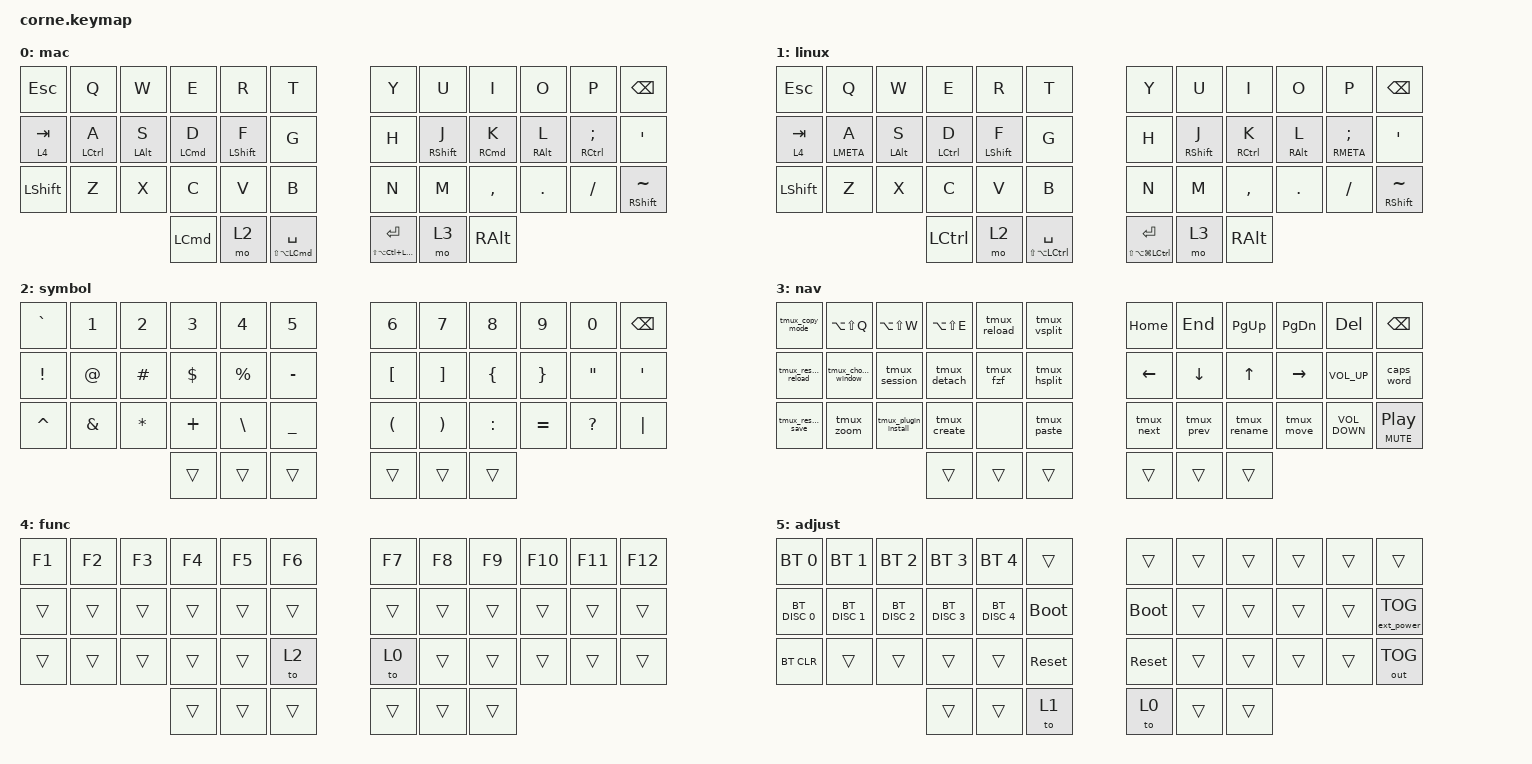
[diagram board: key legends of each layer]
#include <behaviors.dtsi>
#include <dt-bindings/zmk/bt.h>
#include <dt-bindings/zmk/ext_power.h>
#include <dt-bindings/zmk/keys.h>
#include <dt-bindings/zmk/outputs.h>

&mt { flavor = "tap-preferred"; };

&caps_word { continue-list = <UNDERSCORE BACKSPACE DELETE SPACE>; };

/ {
    behaviors {
        lhrm: lhrm {
            compatible = "zmk,behavior-hold-tap";
            label = "Left-hand HRMs";
            bindings = <&kp>, <&kp>;

            #binding-cells = <2>;
            tapping-term-ms = <250>;
            quick-tap-ms = <175>;
            require-prior-idle-ms = <150>;
            flavor = "balanced";
            hold-trigger-key-positions = <39 40 41>;
            hold-trigger-on-release;
        };

        rhrm: rhrm {
            compatible = "zmk,behavior-hold-tap";
            label = "Right-hand HRMs";
            bindings = <&kp>, <&kp>;

            #binding-cells = <2>;
            tapping-term-ms = <250>;
            quick-tap-ms = <175>;
            require-prior-idle-ms = <150>;
            flavor = "balanced";
            hold-trigger-on-release;
            hold-trigger-key-positions = <36 37 38>;
        };

        thumbmt: thumb_mt {
            compatible = "zmk,behavior-hold-tap";
            label = "Thumb hold-tap";
            bindings = <&kp>, <&kp>;

            #binding-cells = <2>;
            tapping-term-ms = <200>;
            require-prior-idle-ms = <150>;
            flavor = "tap-preferred";
        };
    };

    macros {
        home_prefix: home_prefix {
            compatible = "zmk,behavior-macro";
            #binding-cells = <0>;
            bindings = <&kp TILDE &kp FSLH>;
            label = "$HOME";
        };

        arrow: arrow {
            compatible = "zmk,behavior-macro";
            #binding-cells = <0>;
            bindings = <&kp MINUS &kp GT>;
            label = "ARROW";
        };

        walrus: walrus {
            compatible = "zmk,behavior-macro";
            #binding-cells = <0>;
            bindings = <&kp COLON &kp EQUAL>;
            label = "WALRUS";
        };

        gte: gte {
            compatible = "zmk,behavior-macro";
            #binding-cells = <0>;
            bindings = <&kp GT &kp EQUAL>;
            label = "GTE";
        };

        lte: lte {
            compatible = "zmk,behavior-macro";
            #binding-cells = <0>;
            bindings = <&kp LT &kp EQUAL>;
            label = "LTE";
        };

        fat_arrow: fat_arrow {
            compatible = "zmk,behavior-macro";
            #binding-cells = <0>;
            bindings = <&kp EQUAL &kp GT>;
            label = "FAT_ARROW";
        };

        not_equal: not_equal {
            compatible = "zmk,behavior-macro";
            #binding-cells = <0>;
            bindings = <&kp EXCL &kp EQUAL>;
            label = "NOT_EQUAL";
        };

        tmux_create: tmux_create {
            compatible = "zmk,behavior-macro";
            #binding-cells = <0>;
            bindings = <&kp LC(S) &kp C>;
            label = "TMUX_CREATE";
        };

        tmux_detach: tmux_detach {
            compatible = "zmk,behavior-macro";
            #binding-cells = <0>;
            bindings = <&kp LC(S) &kp D>;
            label = "TMUX_DETACH";
        };

        tmux_rename: tmux_rename {
            compatible = "zmk,behavior-macro";
            #binding-cells = <0>;
            bindings = <&kp LC(S) &kp COMMA>;
            label = "TMUX_RENAME";
        };

        tmux_move: tmux_move {
            compatible = "zmk,behavior-macro";
            #binding-cells = <0>;
            bindings = <&kp LC(S) &kp DOT>;
            label = "TMUX_MOVE";
        };

        tmux_next: tmux_next_win {
            compatible = "zmk,behavior-macro";
            #binding-cells = <0>;
            bindings = <&kp LC(S) &kp N>;
            label = "TMUX_NEXT_WIN";
        };

        tmux_prev: tmux_prev {
            compatible = "zmk,behavior-macro";
            #binding-cells = <0>;
            bindings = <&kp LC(S) &kp P>;
            label = "TMUX_PREV";
        };

        tmux_session: tmux_session {
            compatible = "zmk,behavior-macro";
            #binding-cells = <0>;
            bindings = <&kp LC(S) &kp S>;
            label = "TMUX_SESSION";
        };

        tmux_zoom: tmux_zoom {
            compatible = "zmk,behavior-macro";
            #binding-cells = <0>;
            bindings = <&kp LC(S) &kp Z>;
            label = "TMUX_ZOOM";
        };

        tmux_reload: tmux_reload {
            compatible = "zmk,behavior-macro";
            #binding-cells = <0>;
            bindings = <&kp LC(S) &kp R>;
            label = "TMUX_RELOAD";
        };

        tmux_paste: tmux_paste {
            compatible = "zmk,behavior-macro";
            #binding-cells = <0>;
            bindings = <&kp LC(S) &kp RIGHT_BRACKET>;
            label = "TMUX_PASTE";
        };

        tmux_copy_mode: tmux_copy_mode {
            compatible = "zmk,behavior-macro";
            #binding-cells = <0>;
            bindings = <&kp LC(S) &kp ESC>;
            label = "TMUX_COPY_MODE";
        };

        tmux_plugin_install: tmux_plugin_install {
            compatible = "zmk,behavior-macro";
            #binding-cells = <0>;
            bindings = <&kp LC(S) &kp LS(I)>;
            label = "TMUX_PLUGIN_INSTALL";
        };

        tmux_resurrect_save: tmux_resurrect_save {
            compatible = "zmk,behavior-macro";
            #binding-cells = <0>;
            bindings = <&kp LC(S) &kp LS(S)>;
            label = "TMUX_RESURRECT_SAVE";
        };

        tmux_resurrect_reload: tmux_resurrect_reload {
            compatible = "zmk,behavior-macro";
            #binding-cells = <0>;
            bindings = <&kp LC(S) &kp LS(R)>;
            label = "TMUX_RESURRECT_RELOAD";
        };

        tmux_choose_window: tmux_choose_window {
            compatible = "zmk,behavior-macro";
            #binding-cells = <0>;
            bindings = <&kp LC(S) &kp W>;
            label = "TMUX_CHOOSE_WINDOW";
        };

        tmux_fzf: tmux_fzf {
            compatible = "zmk,behavior-macro";
            #binding-cells = <0>;
            bindings = <&kp LC(S) &kp LS(F)>;
            label = "TMUX_FZF";
        };

        tmux_vsplit: tmux_vsplit {
            compatible = "zmk,behavior-macro";
            #binding-cells = <0>;
            bindings = <&kp LC(S) &kp PERCENT>;
            label = "TMUX_VSPLIT";
        };

        tmux_hsplit: tmux_hsplit {
            compatible = "zmk,behavior-macro";
            #binding-cells = <0>;
            bindings = <&kp LC(S) &kp DOUBLE_QUOTES>;
            label = "TMUX_HSPLIT";
        };
    };

    combos {
        compatible = "zmk,combos";

        not_equal {
            bindings = <&not_equal>;
            key-positions = <1 25>;
            layers = <0 1>;
        };

        fat_arrow {
            bindings = <&fat_arrow>;
            key-positions = <2 26>;
            layers = <0 1>;
        };

        arrow {
            bindings = <&arrow>;
            key-positions = <3 27>;
            layers = <0 1>;
        };

        walrus {
            bindings = <&walrus>;
            key-positions = <4 28>;
            layers = <0 1>;
        };

        home_prefix {
            bindings = <&home_prefix>;
            key-positions = <5 29>;
            layers = <0 1>;
        };

        lte {
            bindings = <&lte>;
            key-positions = <8 32>;
            layers = <0 1>;
        };

        gte {
            bindings = <&gte>;
            key-positions = <9 33>;
            layers = <0 1>;
        };
    };

    keymap {
        compatible = "zmk,keymap";

        mac {
            display-name = "mac";
            bindings = <
&kp ESC     &kp Q          &kp W         &kp E         &kp R           &kp T                          &kp Y                            &kp U           &kp I         &kp O         &kp P             &kp BACKSPACE
&lt 4 TAB   &lhrm LCTRL A  &lhrm LALT S  &lhrm LCMD D  &lhrm LSHIFT F  &kp G                          &kp H                            &rhrm RSHIFT J  &rhrm RCMD K  &rhrm RALT L  &rhrm RCTRL SEMI  &kp SINGLE_QUOTE
&kp LSHIFT  &kp Z          &kp X         &kp C         &kp V           &kp B                          &kp N                            &kp M           &kp COMMA     &kp DOT       &kp FSLH          &mt RSHIFT TILDE
                                         &kp LCMD      &mo 2           &thumbmt LS(LA(LCMD)) SPACE    &thumbmt LS(LA(LC(LCMD))) ENTER  &mo 3           &kp RALT
            >;
        };

        linux {
            display-name = "linux";
            bindings = <
&kp ESC     &kp Q          &kp W         &kp E          &kp R           &kp T                           &kp Y                             &kp U           &kp I          &kp O         &kp P             &kp BACKSPACE
&lt 4 TAB   &lhrm LMETA A  &lhrm LALT S  &lhrm LCTRL D  &lhrm LSHIFT F  &kp G                           &kp H                             &rhrm RSHIFT J  &rhrm RCTRL K  &rhrm RALT L  &rhrm RMETA SEMI  &kp SINGLE_QUOTE
&kp LSHIFT  &kp Z          &kp X         &kp C          &kp V           &kp B                           &kp N                             &kp M           &kp COMMA      &kp DOT       &kp FSLH          &mt RSHIFT TILDE
                                         &kp LCTRL      &mo 2           &thumbmt LS(LA(LCTRL)) SPACE    &thumbmt LS(LA(LG(LCTRL))) ENTER  &mo 3           &kp RALT
            >;
        };

        symbol {
            display-name = "symbol";
            bindings = <
&kp GRAVE        &kp N1    &kp N2        &kp N3      &kp N4       &kp N5       &kp N6                &kp N7                 &kp N8          &kp N9           &kp N0             &kp BACKSPACE
&kp EXCLAMATION  &kp AT    &kp HASH      &kp DOLLAR  &kp PERCENT  &kp MINUS    &kp LEFT_BRACKET      &kp RIGHT_BRACKET      &kp LEFT_BRACE  &kp RIGHT_BRACE  &kp DOUBLE_QUOTES  &kp SINGLE_QUOTE
&kp CARET        &kp AMPS  &kp ASTERISK  &kp PLUS    &kp BSLH     &kp UNDER    &kp LEFT_PARENTHESIS  &kp RIGHT_PARENTHESIS  &kp COLON       &kp EQUAL        &kp QUESTION       &kp PIPE
                                         &trans      &trans       &trans       &trans                &trans                 &trans
            >;
        };

        nav {
            display-name = "nav";
            bindings = <
&tmux_copy_mode         &kp LA(LS(Q))        &kp LA(LS(W))         &kp LA(LS(E))  &tmux_reload  &tmux_vsplit    &kp HOME    &kp END     &kp PG_UP     &kp PG_DN   &kp DELETE         &kp BACKSPACE
&tmux_resurrect_reload  &tmux_choose_window  &tmux_session         &tmux_detach   &tmux_fzf     &tmux_hsplit    &kp LEFT    &kp DOWN    &kp UP        &kp RIGHT   &kp C_VOLUME_UP    &caps_word
&tmux_resurrect_save    &tmux_zoom           &tmux_plugin_install  &tmux_create   &none         &tmux_paste     &tmux_next  &tmux_prev  &tmux_rename  &tmux_move  &kp C_VOLUME_DOWN  &mt C_MUTE C_PLAY_PAUSE
                                                                   &trans         &trans        &trans          &trans      &trans      &trans
            >;
        };

        func {
            display-name = "func";
            bindings = <
&kp F1  &kp F2  &kp F3  &kp F4  &kp F5  &kp F6    &kp F7  &kp F8  &kp F9  &kp F10  &kp F11  &kp F12
&trans  &trans  &trans  &trans  &trans  &trans    &trans  &trans  &trans  &trans   &trans   &trans
&trans  &trans  &trans  &trans  &trans  &to 2     &to 0   &trans  &trans  &trans   &trans   &trans
                        &trans  &trans  &trans    &trans  &trans  &trans
            >;
        };

        adjust {
            display-name = "adjust";
            bindings = <
&bt BT_SEL 0   &bt BT_SEL 1   &bt BT_SEL 2   &bt BT_SEL 3   &bt BT_SEL 4   &trans         &trans       &trans  &trans  &trans  &trans  &trans
&bt BT_DISC 0  &bt BT_DISC 1  &bt BT_DISC 2  &bt BT_DISC 3  &bt BT_DISC 4  &bootloader    &bootloader  &trans  &trans  &trans  &trans  &ext_power EP_TOG
&bt BT_CLR     &trans         &trans         &trans         &trans         &sys_reset     &sys_reset   &trans  &trans  &trans  &trans  &out OUT_TOG
                                             &trans         &trans         &to 1          &to 0        &trans  &trans
            >;
        };
    };

    conditional_layers {
        compatible = "zmk,conditional-layers";

        adjust {
            if-layers = <3 2>;
            then-layer = <5>;
        };
    };
};
